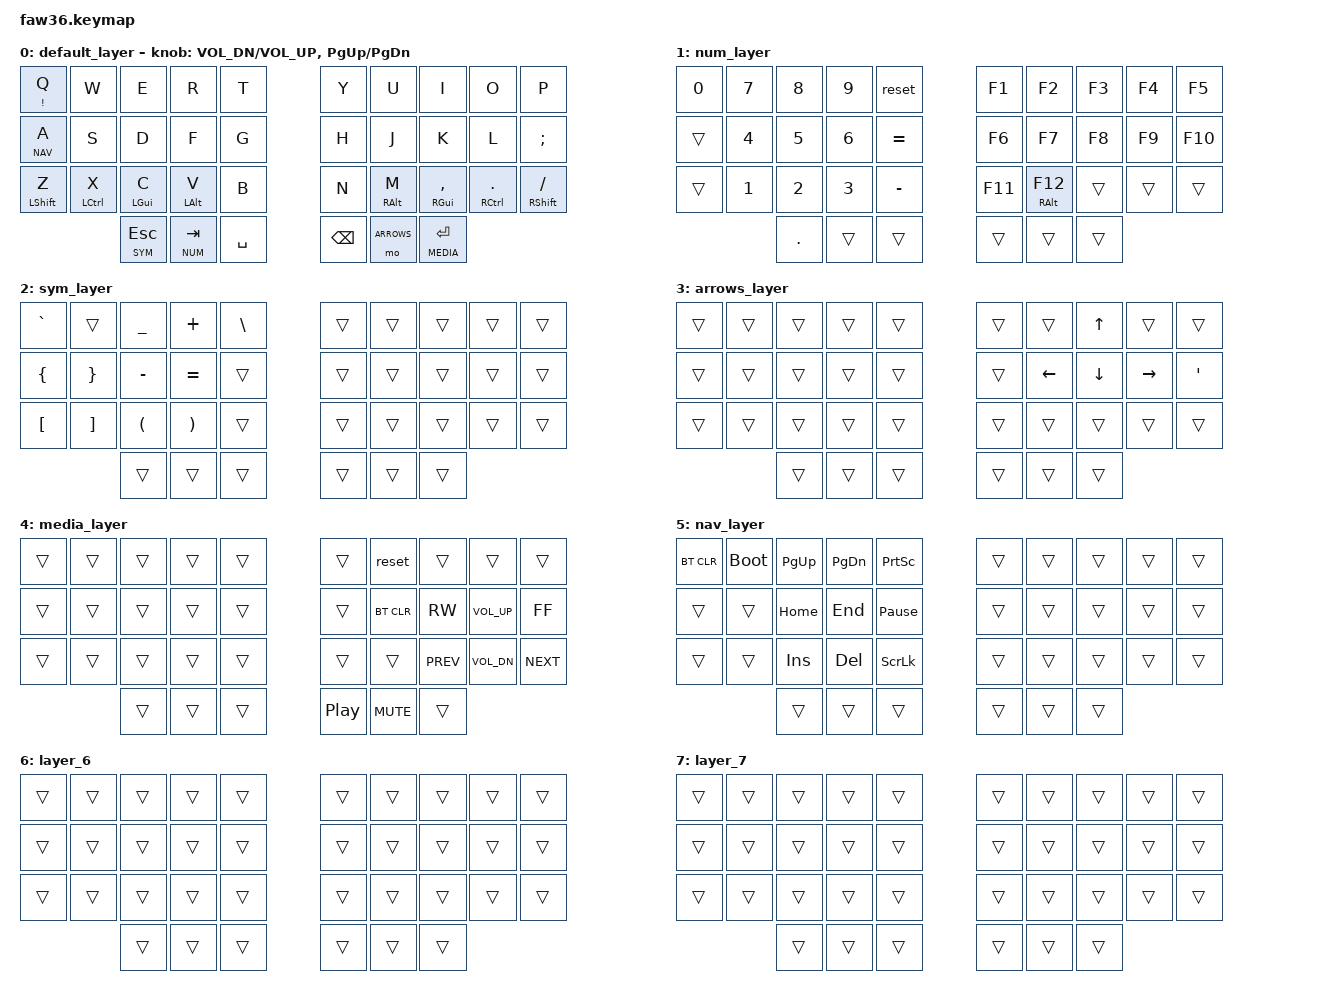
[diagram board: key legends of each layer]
/*
 * Copyright (c) 2020 The ZMK Contributors
 *
 * SPDX-License-Identifier: MIT
 */

#include <behaviors.dtsi>
#include <dt-bindings/zmk/bt.h>
#include <dt-bindings/zmk/keys.h>

#define QWERTY 0
#define NUM 1
#define SYM 2
#define ARROWS 3
#define MEDIA 4
#define NAV 5

&mt {
    tapping-term-ms = <300>;
    flavor = "tap-preferred";
};

/ {
    keymap {
        compatible = "zmk,keymap";

        default_layer {
            /* Qwerty
 * ,----------------------------------.        ,----------------------------------.
 * |   Q  |   W  |   E  |   R  |   T  |        |   Y  |   U  |   I  |   O  |   P  |
 * |------+------+------+------+------|        |------+------+------+------+------|
 * |   A  |   S  |   D  |   F  |   G  |        |   H  |   J  |   K  |   L  |   ;  |
 * |------+------+------+------+------|        |------+------+------+------+------|
 * |   Z  |   X  |   C  |   V  |   B  |        |   N  |   M  |   ,  |   .  |   /  |
 * `-------------+------+------+------|        |------+------+------+-------------'
 *               |F_SYM |F_NUM | Space|        | Bspc |F_ARR |F_MED |
 *               `--------------------'        `--------------------'
 */

            bindings = <
&mt EXCLAMATION Q  &kp W        &kp E        &kp R        &kp T      &kp Y     &kp U       &kp I           &kp O          &kp P
&lt NAV A          &kp S        &kp D        &kp F        &kp G      &kp H     &kp J       &kp K           &kp L          &kp SEMI
&mt LSHFT Z        &mt LCTRL X  &mt LGUI C   &mt LALT V   &kp B      &kp N     &mt RALT M  &mt RGUI COMMA  &mt RCTRL DOT  &mt RSHFT FSLH
                                &lt SYM ESC  &lt NUM TAB  &kp SPACE  &kp BSPC  &mo ARROWS  &lt MEDIA RET
            >;

            sensor-bindings = <&inc_dec_kp C_VOL_DN C_VOL_UP &inc_dec_kp PG_UP PG_DN>;
        };

        num_layer {
            /* Numbers
 * ,----------------------------------.        ,----------------------------------.
 * |   0  |   7  |   8  |   9  |RESET |        |  F1  |  F2  |  F3  |  F4  |  F5  |
 * |------+------+------+------+------|        |------+------+------+------+------|
 * |      |   4  |   5  |   6  |   =  |        |  F6  |  F7  |  F8  |  F9  |  F10 |
 * |------+------+------+------+------|        |------+------+------+------+------|
 * |      |   1  |   2  |   3  |   -  |        |  F11 | AF12 |      |      |      |
 * `-------------+------+------+------|        |------+------+------+-------------'
 *               |   .  |      |      |        |      |      |      |
 *               `--------------------'        `--------------------'
*/

            bindings = <
&kp N0  &kp N7  &kp N8   &kp N9  &reset     &kp F1   &kp F2        &kp F3  &kp F4  &kp F5
&trans  &kp N4  &kp N5   &kp N6  &kp EQUAL  &kp F6   &kp F7        &kp F8  &kp F9  &kp F10
&trans  &kp N1  &kp N2   &kp N3  &kp MINUS  &kp F11  &mt RALT F12  &trans  &trans  &trans
                &kp DOT  &trans  &trans     &trans   &trans        &trans
            >;
        };

        sym_layer {
            /* Symbols
 * ,----------------------------------.        ,----------------------------------.
 * |   `  |      |   _  |   +  |   \  |        |      |      |      |      |      |
 * |------+------+------+------+------|        |------+------+------+------+------|
 * |   {  |   }  |   -  |   =  |      |        |      |      |      |      |      |
 * |------+------+------+------+------|        |------+------+------+------+------|
 * |   [  |   ]  |   (  |   )  |      |        |      |      |      |      |      |
 * `-------------+------+------+------|        |------+------+------+-------------'
 *               |      |      |      |        |      |      |      |
 *               `--------------------'        `--------------------'
 */

            bindings = <
&kp GRAVE  &trans    &kp UNDER  &kp PLUS   &kp BSLH  &trans  &trans  &trans  &trans  &trans
&kp LBRC   &kp RBRC  &kp MINUS  &kp EQUAL  &trans    &trans  &trans  &trans  &trans  &trans
&kp LBKT   &kp RBKT  &kp LPAR   &kp RPAR   &trans    &trans  &trans  &trans  &trans  &trans
                     &trans     &trans     &trans    &trans  &trans  &trans
            >;
        };

        arrows_layer {
            /* Arrows
 * ,----------------------------------.        ,----------------------------------.
 * |      |      |      |      |      |        |      |      |  Up  |      |      |
 * |------+------+------+------+------|        |------+------+------+------+------|
 * |      |      |      |      |      |        |      | Left | Down | Right|   '  |
 * |------+------+------+------+------|        |------+------+------+------+------|
 * |      |      |      |      |      |        |      |      |      |      |      |
 * `-------------+------+------+------|        |------+------+------+-------------'
 *               |      |      |      |        |      |      |      |
 *               `--------------------'        `--------------------'
 */

            bindings = <
&trans  &trans  &trans  &trans  &trans  &trans  &trans    &kp UP    &trans     &trans
&trans  &trans  &trans  &trans  &trans  &trans  &kp LEFT  &kp DOWN  &kp RIGHT  &kp APOS
&trans  &trans  &trans  &trans  &trans  &trans  &trans    &trans    &trans     &trans
                &trans  &trans  &trans  &trans  &trans    &trans
            >;
        };

        media_layer {
            /* Media
 * ,----------------------------------.        ,----------------------------------.
 * |      |      |      |      |      |        |RESET |      |      |      |      |
 * |------+------+------+------+------|        |------+------+------+------+------|
 * |      |      |      |      |      |        |BT_CLR|      |PTrack| Vol+ |NTrack|
 * |------+------+------+------+------|        |------+------+------+------+------|
 * |      |      |      |      |      |        |      |      | Prev | Vol- | Next |
 * `-------------+------+------+------|        |------+------+------+-------------'
 *               |      |      |      |        | Play | Mute |      |
 *               `--------------------'        `--------------------'
 */

            bindings = <
&trans  &trans  &trans  &trans  &trans  &trans    &reset      &trans      &trans        &trans
&trans  &trans  &trans  &trans  &trans  &trans    &bt BT_CLR  &kp C_RW    &kp C_VOL_UP  &kp C_FF
&trans  &trans  &trans  &trans  &trans  &trans    &trans      &kp C_PREV  &kp C_VOL_DN  &kp C_NEXT
                &trans  &trans  &trans  &kp C_PP  &kp C_MUTE  &trans
            >;
        };

        nav_layer {
            /* Navigation
 * ,----------------------------------.        ,----------------------------------.
 * |BT_CLR| BOOT | PgUp | PgDn | Pscr |        |      |      |      |      |      |
 * |------+------+------+------+------|        |------+------+------+------+------|
 * |      |      | Home |  End | Paus |        |      |      |      |      |      |
 * |------+------+------+------+------|        |------+------+------+------+------|
 * |      |      | Ins  |  Del | Slck |        |      |      |      |      |      |
 * `-------------+------+------+------|        |------+------+------+-------------'
 *               |      |      |      |        |      |      |      |
 *               `--------------------'        `--------------------'
 */

            bindings = <
&bt BT_CLR  &bootloader  &kp PG_UP  &kp PG_DN  &kp PSCRN        &trans  &trans  &trans  &trans  &trans
&trans      &trans       &kp HOME   &kp END    &kp PAUSE_BREAK  &trans  &trans  &trans  &trans  &trans
&trans      &trans       &kp INS    &kp DEL    &kp SLCK         &trans  &trans  &trans  &trans  &trans
                         &trans     &trans     &trans           &trans  &trans  &trans
            >;
        };

        layer_6 {
            bindings = <
&trans  &trans  &trans  &trans  &trans  &trans  &trans  &trans  &trans  &trans
&trans  &trans  &trans  &trans  &trans  &trans  &trans  &trans  &trans  &trans
&trans  &trans  &trans  &trans  &trans  &trans  &trans  &trans  &trans  &trans
                &trans  &trans  &trans  &trans  &trans  &trans
            >;
        };

        layer_7 {
            bindings = <
&trans  &trans  &trans  &trans  &trans  &trans  &trans  &trans  &trans  &trans
&trans  &trans  &trans  &trans  &trans  &trans  &trans  &trans  &trans  &trans
&trans  &trans  &trans  &trans  &trans  &trans  &trans  &trans  &trans  &trans
                &trans  &trans  &trans  &trans  &trans  &trans
            >;
        };
    };
};
